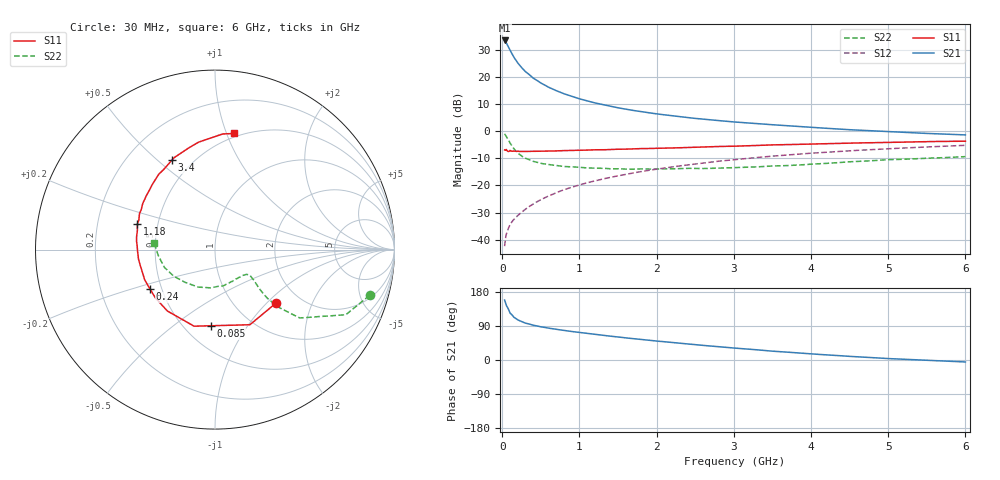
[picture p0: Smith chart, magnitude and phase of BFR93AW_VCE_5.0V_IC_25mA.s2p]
! Infineon Technologies  Discrete & RF Semiconductors
! BFR93AW
! VCE =  5.0 V,  IC =  25 mA
! Common Emitter S-Parameters:  Nov 2015
# GHz  S  MA  R  50
!  f  S11  S21  S12  S22
! GHz  MAG  ANG  MAG  ANG  MAG  ANG  MAG  ANG
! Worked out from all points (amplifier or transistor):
!   206 points, 30 MHz to 6 GHz, reference 50 ohm
!   highest |S21| = 33.5 dB at 30 MHz (marker M1)
!   |S21| within 3 dB of that: start of sweep to 88.82 MHz
!   unconditionally stable (mu >= 1): 496.6 MHz to 2.178 GHz
!   at 200 MHz: K = 0.76, MSG = 28.1 dB, |S12| = -31.1 dB
!   at 1.56 GHz: K = 1.04, MAG = 11.0 dB, |S12| = -16.1 dB
!   at 6 GHz: K = 0.90, MSG = 1.9 dB, |S12| = -5.2 dB
!   S11 on the Smith chart (normalised r, x): 30 MHz: 1.52, -1.14; 85 MHz: 0.67, -0.69; 240 MHz: 0.43, -0.23; 1.18 GHz: 0.38, +0.14; 3.4 GHz: 0.39, +0.56; 6 GHz: 0.47, +1.06
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0.03  0.4519 -41.3  47.25 158.2  0.0076 74.7  0.8982 -16.5
0.05  0.4616 -65.1  43.21 144.5  0.0124 70.1  0.814 -26.5
0.085  0.425 -93.2  34.29 131.7  0.017 64.1  0.6652 -34.4
0.1  0.4424 -105.3  31.2 124.1  0.0191 62.4  0.6065 -38.9
0.15  0.4329 -127.8  23.16 112.8  0.0237 60.5  0.4744 -42.3
0.2  0.4276 -140.7  18.22 105.9  0.0279 62.5  0.3983 -42.9
0.24  0.4235 -148.5  15.54 102.1  0.0312 63.7  0.3582 -42.2
0.3  0.4263 -156.8  12.58 97.3  0.0365 65.2  0.3183 -40.9
0.4  0.4252 -166.4  9.566 91.8  0.0455 68.2  0.2788 -38.4
0.5  0.4296 -173.1  7.741 87.5  0.0548 69.6  0.2555 -37.2
0.6  0.4312 -177.9  6.483 84.0  0.064 71.2  0.2427 -36.4
0.7  0.4339 177.4  5.596 80.9  0.0736 71.5  0.2342 -36.9
0.9  0.4428 170.3  4.389 75.2  0.0929 72.0  0.2211 -38.8
1.04  0.4465 165.7  3.827 71.6  0.1063 71.6  0.2143 -41.4
1.18  0.4545 161.9  3.391 68.1  0.1196 71.2  0.2093 -44.5
1.54  0.4665 153.2  2.645 59.8  0.1546 69.3  0.2024 -53.0
2.02  0.486 142.1  2.075 49.6  0.2017 65.7  0.2021 -67.5
3.1  0.535 120.9  1.45 30.1  0.3081 56.3  0.2155 -99.8
3.4  0.5534 115.7  1.35 25.1  0.3376 53.3  0.2242 -110.6
4.1  0.5854 104.4  1.157 14.8  0.4021 45.9  0.2509 -135.5
5.1  0.6264 91.0  0.97 2.9  0.4839 35.0  0.3013 -163.5
6  0.6557 80.7  0.857 -5.2  0.55 25.6  0.3405 174.0
